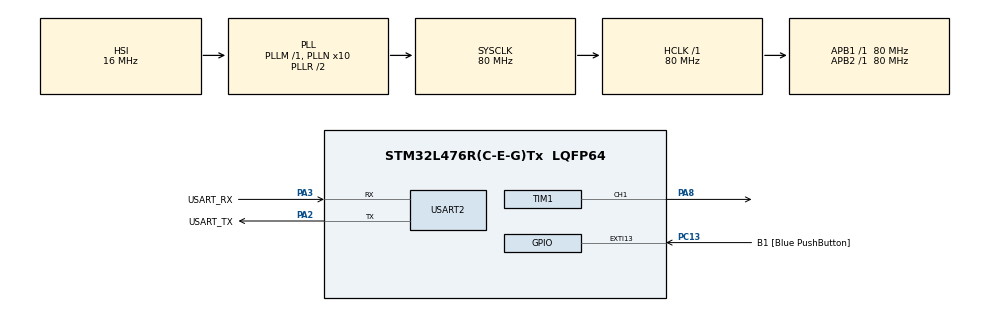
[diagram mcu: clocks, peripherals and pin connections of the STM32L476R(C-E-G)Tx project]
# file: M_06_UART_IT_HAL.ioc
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Dma.Request0=USART2_TX
Dma.USART2_TX.0.Direction=DMA_MEMORY_TO_PERIPH
Dma.USART2_TX.0.Instance=DMA1_Channel7
Dma.USART2_TX.0.MemDataAlignment=DMA_MDATAALIGN_BYTE
Dma.USART2_TX.0.MemInc=DMA_MINC_ENABLE
Dma.USART2_TX.0.Mode=DMA_NORMAL
Dma.USART2_TX.0.PeriphDataAlignment=DMA_PDATAALIGN_BYTE
Dma.USART2_TX.0.PeriphInc=DMA_PINC_DISABLE
Dma.USART2_TX.0.Priority=DMA_PRIORITY_LOW
Mcu.Family=STM32L4
Mcu.Name=STM32L476R(C-E-G)Tx
Mcu.Package=LQFP64
NVIC.DMA1_Channel7_IRQn=true\:0\:0\:false\:false\:true\:false\:true\:true
NVIC.PriorityGroup=NVIC_PRIORITYGROUP_4
NVIC.TIM7_IRQn=true\:0\:0\:false\:false\:true\:true\:true\:true
NVIC.USART2_IRQn=true\:0\:0\:false\:false\:true\:true\:true\:true
PA13\ (JTMS-SWDIO).GPIO_Label=TMS
PA13\ (JTMS-SWDIO).Mode=Serial_Wire
PA13\ (JTMS-SWDIO).Signal=SYS_JTMS-SWDIO
PA14\ (JTCK-SWCLK).GPIO_Label=TCK
PA14\ (JTCK-SWCLK).Mode=Serial_Wire
PA14\ (JTCK-SWCLK).Signal=SYS_JTCK-SWCLK
PA2.GPIO_Label=USART_TX
PA2.GPIO_Mode=GPIO_MODE_AF_PP
PA2.GPIO_PuPd=GPIO_NOPULL
PA2.GPIO_Speed=GPIO_SPEED_FREQ_VERY_HIGH
PA2.Mode=Asynchronous
PA2.Signal=USART2_TX
PA3.GPIO_Label=USART_RX
PA3.GPIO_Mode=GPIO_MODE_AF_PP
PA3.GPIO_PuPd=GPIO_NOPULL
PA3.GPIO_Speed=GPIO_SPEED_FREQ_VERY_HIGH
PA3.Mode=Asynchronous
PA3.Signal=USART2_RX
PA8.Signal=S_TIM1_CH1
PB3\ (JTDO-TRACESWO).GPIO_Label=SWO
PB3\ (JTDO-TRACESWO).Signal=SYS_JTDO-SWO
PC13.GPIO_Label=B1 [Blue PushButton]
PC13.GPIO_ModeDefaultEXTI=GPIO_MODE_IT_FALLING
PC13.GPIO_PuPd=GPIO_NOPULL
PC13.Signal=GPXTI13
PC14-OSC32_IN\ (PC14).Mode=LSE-External-Oscillator
PC14-OSC32_IN\ (PC14).Signal=RCC_OSC32_IN
PC15-OSC32_OUT\ (PC15).Mode=LSE-External-Oscillator
PC15-OSC32_OUT\ (PC15).Signal=RCC_OSC32_OUT
PH0-OSC_IN\ (PH0).Signal=RCC_OSC_IN
PH1-OSC_OUT\ (PH1).Signal=RCC_OSC_OUT
ProjectManager.HeapSize=0x200
ProjectManager.StackSize=0x400
ProjectManager.TargetToolchain=STM32CubeIDE
RCC.ADCFreq_Value=64000000
RCC.AHBFreq_Value=80000000
RCC.APB1Freq_Value=80000000
RCC.APB1TimFreq_Value=80000000
RCC.APB2Freq_Value=80000000
RCC.APB2TimFreq_Value=80000000
RCC.CortexFreq_Value=80000000
RCC.HCLKFreq_Value=80000000
RCC.HSE_VALUE=8000000
RCC.HSI_VALUE=16000000
RCC.MSI_VALUE=4000000
RCC.PLLN=10
RCC.PLLSourceVirtual=RCC_PLLSOURCE_HSI
RCC.PREFETCH_ENABLE=1
RCC.SYSCLKFreq_VALUE=80000000
RCC.SYSCLKSource=RCC_SYSCLKSOURCE_PLLCLK
RCC.USBFreq_Value=64000000
RCC.VCOOutputFreq_Value=160000000
SH.S_TIM1_CH1.0=TIM1_CH1,PWM Generation1 CH1
TIM1.Channel-PWM\ Generation1\ CH1=TIM_CHANNEL_1
TIM1.Prescaler=800-1
TIM7.Period=10000-1
TIM7.Prescaler=8000-1
USART2.VirtualMode-Asynchronous=VM_ASYNC
VP_TIM1_VS_ClockSourceINT.Mode=Internal
VP_TIM7_VS_ClockSourceINT.Mode=Enable_Timer
board=NUCLEO-L476RG

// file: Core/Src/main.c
/* USER CODE BEGIN Header */
/**
  ******************************************************************************
  * @file           : main.c
  * @brief          : Main program body
  ******************************************************************************
  * @attention
  *
  * Copyright (c) 2023 STMicroelectronics.
  * All rights reserved.
  *
  * This software is licensed under terms that can be found in the LICENSE file
  * in the root directory of this software component.
  * If no LICENSE file comes with this software, it is provided AS-IS.
  *
  ******************************************************************************
  */
/* USER CODE END Header */
#include "main.h"

/* USER CODE BEGIN Includes */
#include <stdio.h> // <> -> Cuando es libreria estandar || "" -> Cuando es una libreria que yo hice
#include <string.h>

/* USER CODE END Includes */

TIM_HandleTypeDef htim1;
TIM_HandleTypeDef htim7;

UART_HandleTypeDef huart2;
DMA_HandleTypeDef hdma_usart2_tx;

/* USER CODE BEGIN PV */

// Paso 1: Inicializamos un string vacío para almacenar el valor que recibiremos
uint8_t my_str[4] = "";

// Paso 2: Nos dirigimos al archivo de las interrupciones (stm32l4xx_it.c) para hallar el Callback del UART

/* USER CODE END PV */

void SystemClock_Config(void);
static void MX_GPIO_Init(void);
static void MX_DMA_Init(void);
static void MX_USART2_UART_Init(void);
static void MX_TIM7_Init(void);
static void MX_TIM1_Init(void);

/* USER CODE BEGIN 0 */
int _write(int file, char *ptr, int len)
{
  HAL_UART_Transmit(&huart2, (uint8_t *)ptr, len, 10);
  return len;
}
void HAL_UART_RxCpltCallback(UART_HandleTypeDef *huart)
{

	//HAL_GPIO_WritePin(LD2_GPIO_Port, LD2_Pin, GPIO_PIN_SET);
	//HAL_UART_Transmit(&huart2, my_str, sizeof(my_str), 1);// Ver el mensaje que acabo de recibir
	//HAL_GPIO_WritePin(LD2_GPIO_Port, LD2_Pin, GPIO_PIN_SET);
	printf("Received: [%s]\r\n",my_str);
	HAL_UART_Receive_IT(&huart2, my_str, 1);
}
void HAL_UART_TxCpltCallback(UART_HandleTypeDef *huart)
{
	//my_str = 0;
}
void HAL_TIM_PeriodElapsedCallback(TIM_HandleTypeDef *htim)
{
	static uint32_t   counter =0;
	printf("Counter: %ld\r\n", counter++);
}
/* USER CODE END 0 */

int main(void)
{

  /* MCU Configuration--------------------------------------------------------*/

  /* Reset of all peripherals, Initializes the Flash interface and the Systick. */
  HAL_Init();

  /* Configure the system clock */
  SystemClock_Config();

  /* Initialize all configured peripherals */
  MX_GPIO_Init();
  MX_DMA_Init();
  MX_USART2_UART_Init();
  MX_TIM7_Init();
  MX_TIM1_Init();
  /* USER CODE BEGIN 2 */
  HAL_UART_Receive_IT(&huart2, my_str, 1);

  HAL_TIM_Base_Start_IT(&htim7);
  TIM1->CCR1 = 1;
  HAL_TIM_PWM_Start(&htim1, TIM_CHANNEL_1);
  /* USER CODE END 2 */

  /* Infinite loop */
  while (1)
  {

  }
}

void SystemClock_Config(void)
{
  RCC_OscInitTypeDef RCC_OscInitStruct = {0};
  RCC_ClkInitTypeDef RCC_ClkInitStruct = {0};

  /** Configure the main internal regulator output voltage
  */
  if (HAL_PWREx_ControlVoltageScaling(PWR_REGULATOR_VOLTAGE_SCALE1) != HAL_OK)
  {
    Error_Handler();
  }

  /** Initializes the RCC Oscillators according to the specified parameters
  * in the RCC_OscInitTypeDef structure.
  */
  RCC_OscInitStruct.OscillatorType = RCC_OSCILLATORTYPE_HSI;
  RCC_OscInitStruct.HSIState = RCC_HSI_ON;
  RCC_OscInitStruct.HSICalibrationValue = RCC_HSICALIBRATION_DEFAULT;
  RCC_OscInitStruct.PLL.PLLState = RCC_PLL_ON;
  RCC_OscInitStruct.PLL.PLLSource = RCC_PLLSOURCE_HSI;
  RCC_OscInitStruct.PLL.PLLM = 1;
  RCC_OscInitStruct.PLL.PLLN = 10;
  RCC_OscInitStruct.PLL.PLLP = RCC_PLLP_DIV7;
  RCC_OscInitStruct.PLL.PLLQ = RCC_PLLQ_DIV2;
  RCC_OscInitStruct.PLL.PLLR = RCC_PLLR_DIV2;
  if (HAL_RCC_OscConfig(&RCC_OscInitStruct) != HAL_OK)
  {
    Error_Handler();
  }

  /** Initializes the CPU, AHB and APB buses clocks
  */
  RCC_ClkInitStruct.ClockType = RCC_CLOCKTYPE_HCLK|RCC_CLOCKTYPE_SYSCLK
                              |RCC_CLOCKTYPE_PCLK1|RCC_CLOCKTYPE_PCLK2;
  RCC_ClkInitStruct.SYSCLKSource = RCC_SYSCLKSOURCE_PLLCLK;
  RCC_ClkInitStruct.AHBCLKDivider = RCC_SYSCLK_DIV1;
  RCC_ClkInitStruct.APB1CLKDivider = RCC_HCLK_DIV1;
  RCC_ClkInitStruct.APB2CLKDivider = RCC_HCLK_DIV1;

  if (HAL_RCC_ClockConfig(&RCC_ClkInitStruct, FLASH_LATENCY_4) != HAL_OK)
  {
    Error_Handler();
  }
}

static void MX_TIM1_Init(void)
{

  TIM_ClockConfigTypeDef sClockSourceConfig = {0};
  TIM_MasterConfigTypeDef sMasterConfig = {0};
  TIM_OC_InitTypeDef sConfigOC = {0};
  TIM_BreakDeadTimeConfigTypeDef sBreakDeadTimeConfig = {0};

  htim1.Instance = TIM1;
  htim1.Init.Prescaler = 800-1;
  htim1.Init.CounterMode = TIM_COUNTERMODE_UP;
  htim1.Init.Period = 65535;
  htim1.Init.ClockDivision = TIM_CLOCKDIVISION_DIV1;
  htim1.Init.RepetitionCounter = 0;
  htim1.Init.AutoReloadPreload = TIM_AUTORELOAD_PRELOAD_DISABLE;
  if (HAL_TIM_Base_Init(&htim1) != HAL_OK)
  {
    Error_Handler();
  }
  sClockSourceConfig.ClockSource = TIM_CLOCKSOURCE_INTERNAL;
  if (HAL_TIM_ConfigClockSource(&htim1, &sClockSourceConfig) != HAL_OK)
  {
    Error_Handler();
  }
  if (HAL_TIM_PWM_Init(&htim1) != HAL_OK)
  {
    Error_Handler();
  }
  sMasterConfig.MasterOutputTrigger = TIM_TRGO_RESET;
  sMasterConfig.MasterOutputTrigger2 = TIM_TRGO2_RESET;
  sMasterConfig.MasterSlaveMode = TIM_MASTERSLAVEMODE_DISABLE;
  if (HAL_TIMEx_MasterConfigSynchronization(&htim1, &sMasterConfig) != HAL_OK)
  {
    Error_Handler();
  }
  sConfigOC.OCMode = TIM_OCMODE_PWM1;
  sConfigOC.Pulse = 0;
  sConfigOC.OCPolarity = TIM_OCPOLARITY_HIGH;
  sConfigOC.OCNPolarity = TIM_OCNPOLARITY_HIGH;
  sConfigOC.OCFastMode = TIM_OCFAST_DISABLE;
  sConfigOC.OCIdleState = TIM_OCIDLESTATE_RESET;
  sConfigOC.OCNIdleState = TIM_OCNIDLESTATE_RESET;
  if (HAL_TIM_PWM_ConfigChannel(&htim1, &sConfigOC, TIM_CHANNEL_1) != HAL_OK)
  {
    Error_Handler();
  }
  sBreakDeadTimeConfig.OffStateRunMode = TIM_OSSR_DISABLE;
  sBreakDeadTimeConfig.OffStateIDLEMode = TIM_OSSI_DISABLE;
  sBreakDeadTimeConfig.LockLevel = TIM_LOCKLEVEL_OFF;
  sBreakDeadTimeConfig.DeadTime = 0;
  sBreakDeadTimeConfig.BreakState = TIM_BREAK_DISABLE;
  sBreakDeadTimeConfig.BreakPolarity = TIM_BREAKPOLARITY_HIGH;
  sBreakDeadTimeConfig.BreakFilter = 0;
  sBreakDeadTimeConfig.Break2State = TIM_BREAK2_DISABLE;
  sBreakDeadTimeConfig.Break2Polarity = TIM_BREAK2POLARITY_HIGH;
  sBreakDeadTimeConfig.Break2Filter = 0;
  sBreakDeadTimeConfig.AutomaticOutput = TIM_AUTOMATICOUTPUT_DISABLE;
  if (HAL_TIMEx_ConfigBreakDeadTime(&htim1, &sBreakDeadTimeConfig) != HAL_OK)
  {
    Error_Handler();
  }
  HAL_TIM_MspPostInit(&htim1);

}

static void MX_TIM7_Init(void)
{

  TIM_MasterConfigTypeDef sMasterConfig = {0};

  htim7.Instance = TIM7;
  htim7.Init.Prescaler = 8000-1;
  htim7.Init.CounterMode = TIM_COUNTERMODE_UP;
  htim7.Init.Period = 10000-1;
  htim7.Init.AutoReloadPreload = TIM_AUTORELOAD_PRELOAD_DISABLE;
  if (HAL_TIM_Base_Init(&htim7) != HAL_OK)
  {
    Error_Handler();
  }
  sMasterConfig.MasterOutputTrigger = TIM_TRGO_RESET;
  sMasterConfig.MasterSlaveMode = TIM_MASTERSLAVEMODE_DISABLE;
  if (HAL_TIMEx_MasterConfigSynchronization(&htim7, &sMasterConfig) != HAL_OK)
  {
    Error_Handler();
  }

}

static void MX_USART2_UART_Init(void)
{

  huart2.Instance = USART2;
  huart2.Init.BaudRate = 115200;
  huart2.Init.WordLength = UART_WORDLENGTH_8B;
  huart2.Init.StopBits = UART_STOPBITS_1;
  huart2.Init.Parity = UART_PARITY_NONE;
  huart2.Init.Mode = UART_MODE_TX_RX;
  huart2.Init.HwFlowCtl = UART_HWCONTROL_NONE;
  huart2.Init.OverSampling = UART_OVERSAMPLING_16;
  huart2.Init.OneBitSampling = UART_ONE_BIT_SAMPLE_DISABLE;
  huart2.AdvancedInit.AdvFeatureInit = UART_ADVFEATURE_NO_INIT;
  if (HAL_UART_Init(&huart2) != HAL_OK)
  {
    Error_Handler();
  }

}

static void MX_DMA_Init(void)
{

  /* DMA controller clock enable */
  __HAL_RCC_DMA1_CLK_ENABLE();

  /* DMA interrupt init */
  /* DMA1_Channel7_IRQn interrupt configuration */
  HAL_NVIC_SetPriority(DMA1_Channel7_IRQn, 0, 0);
  HAL_NVIC_EnableIRQ(DMA1_Channel7_IRQn);

}

static void MX_GPIO_Init(void)
{
  GPIO_InitTypeDef GPIO_InitStruct = {0};

  /* GPIO Ports Clock Enable */
  __HAL_RCC_GPIOC_CLK_ENABLE();
  __HAL_RCC_GPIOH_CLK_ENABLE();
  __HAL_RCC_GPIOA_CLK_ENABLE();
  __HAL_RCC_GPIOB_CLK_ENABLE();

  /*Configure GPIO pin : B1_Pin */
  GPIO_InitStruct.Pin = B1_Pin;
  GPIO_InitStruct.Mode = GPIO_MODE_IT_FALLING;
  GPIO_InitStruct.Pull = GPIO_NOPULL;
  HAL_GPIO_Init(B1_GPIO_Port, &GPIO_InitStruct);

}

void Error_Handler(void)
{
  __disable_irq();
  while (1)
  {
  }
}
